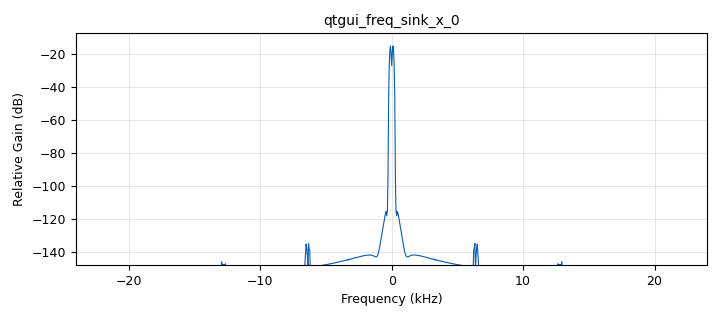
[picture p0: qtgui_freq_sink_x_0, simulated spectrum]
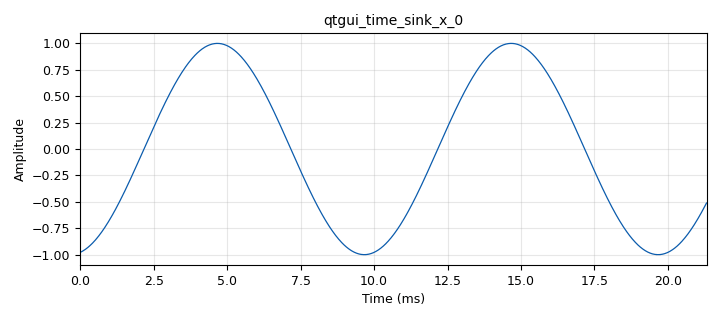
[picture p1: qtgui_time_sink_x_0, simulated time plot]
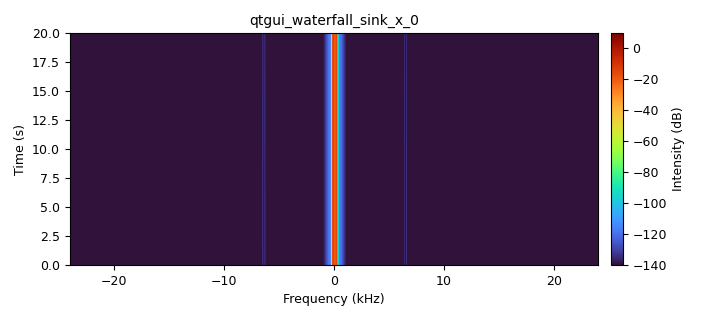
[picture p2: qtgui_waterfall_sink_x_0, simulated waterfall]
options:
  parameters:
    generate_options: qt_gui
    id: UKW
    output_language: python
    title: Not titled yet
  states: {}

blocks:
- name: freq
  id: variable_qtgui_range
  parameters:
    rangeType: int
    start: '100'
    step: '1'
    stop: '2000'
    value: '100'
  states: {}
- name: samp_rate
  id: variable
  parameters:
    value: '48000'
  states: {}
- name: analog_sig_source_x_0
  id: analog_sig_source_x
  parameters:
    amp: '1'
    freq: freq
    offset: '0'
    phase: '0'
    samp_rate: samp_rate
    type: float
    waveform: analog.GR_COS_WAVE
  states: {}
- name: audio_sink_0
  id: audio_sink
  parameters:
    samp_rate: samp_rate
  states: {state: disabled}
- name: audio_sink_1
  id: audio_sink
  parameters:
    samp_rate: samp_rate
  states: {}
- name: blocks_throttle_0
  id: blocks_throttle
  parameters:
    samples_per_second: samp_rate
    type: float
  states: {}
- name: qtgui_freq_sink_x_0
  id: qtgui_freq_sink_x
  parameters:
    autoscale: 'True'
    bw: samp_rate
    fc: '0'
    fftsize: '1024'
    grid: 'True'
    tr_level: '-150.0'
    tr_mode: qtgui.TRIG_MODE_NORM
    type: float
  states: {}
- name: qtgui_time_sink_x_0
  id: qtgui_time_sink_x
  parameters:
    autoscale: 'True'
    grid: 'True'
    size: '1024'
    srate: samp_rate
    type: float
  states: {}
- name: qtgui_waterfall_sink_x_0
  id: qtgui_waterfall_sink_x
  parameters:
    bw: samp_rate
    fc: '0'
    fftsize: '1024'
    grid: 'True'
    type: float
  states: {}

connections:
- [analog_sig_source_x_0, '0', blocks_throttle_0, '0']
- [blocks_throttle_0, '0', audio_sink_0, '0']
- [blocks_throttle_0, '0', audio_sink_1, '0']
- [blocks_throttle_0, '0', qtgui_freq_sink_x_0, '0']
- [blocks_throttle_0, '0', qtgui_time_sink_x_0, '0']
- [blocks_throttle_0, '0', qtgui_waterfall_sink_x_0, '0']

metadata:
  file_format: 1
  grc_version: 3.10.5.1
